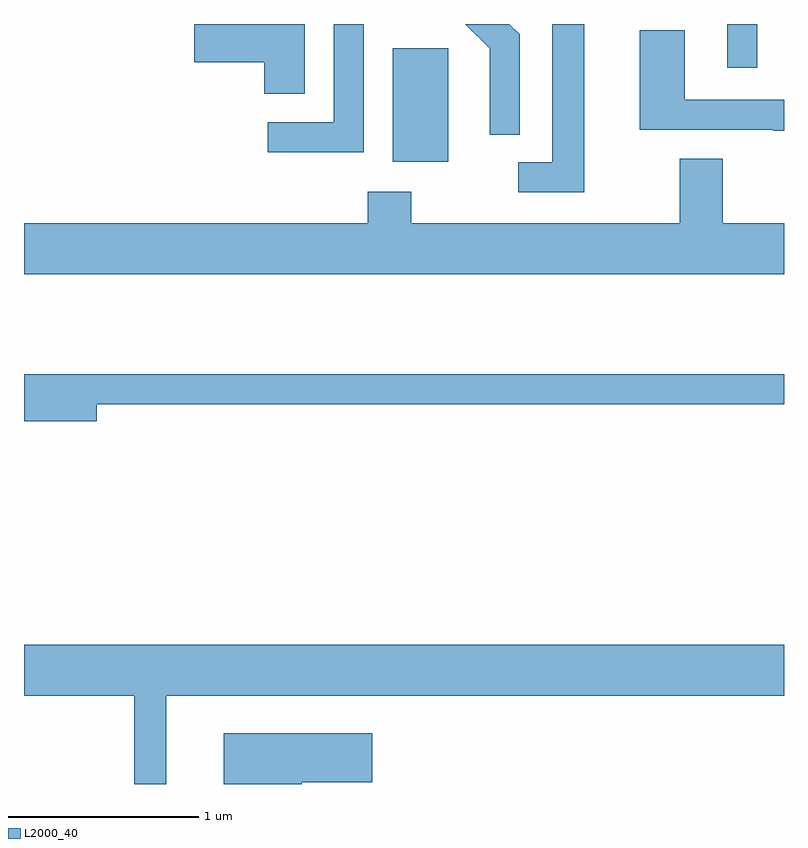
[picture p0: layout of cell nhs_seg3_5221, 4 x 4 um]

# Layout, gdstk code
import gdstk
lib = gdstk.Library(unit=1e-6, precision=1e-09)
def R(c, l, rs):  # rectangles x0, y0, x1, y1
    for r in rs: c.add(gdstk.rectangle(r[:2], r[2:], *l))
def P(c, l, *ps):  # polygons
    for p in ps: c.add(gdstk.Polygon(p, *l))
L2000_40 = (2000, 40)

nhs_seg3_5221 = lib.new_cell('nhs_seg3_5221')
R(nhs_seg3_5221, L2000_40, [(339.551,1233.166,339.844,1233.764), (341.311,1233.663,341.469,1233.892)])
P(nhs_seg3_5221, L2000_40, [(339.089,1233.892),(338.506,1233.892),(338.506,1233.691),(338.876,1233.691),(338.876,1233.526),(339.089,1233.526)],
  [(339.399,1233.892),(339.241,1233.892),(339.241,1233.374),(338.893,1233.374),(338.893,1233.216),(339.399,1233.216)],
  [(340.219,1233.837),(340.164,1233.892),(339.933,1233.892),(340.061,1233.764),(340.061,1233.308),(340.219,1233.308)],
  [(340.559,1233.892),(340.391,1233.892),(340.391,1233.164),(340.213,1233.164),(340.213,1233.006),(340.559,1233.006)],
  [(341.611,1233.494),(341.089,1233.494),(341.089,1233.859),(340.851,1233.859),(340.851,1233.336),(341.555,1233.336),(341.555,1233.331),(341.611,1233.331)],
  [(339.421,1233.009),(339.421,1232.844),(337.611,1232.844),(337.611,1232.576),(341.611,1232.576),(341.611,1232.844),(341.289,1232.844),(341.289,1233.184),(341.061,1233.184),(341.061,1232.844),(339.649,1232.844),(339.649,1233.009)],
  [(337.994,1231.891),(341.611,1231.891),(341.611,1232.049),(337.611,1232.049),(337.611,1231.801),(337.994,1231.801)],
  [(338.359,1230.356),(341.611,1230.356),(341.611,1230.624),(337.611,1230.624),(337.611,1230.356),(338.191,1230.356),(338.191,1229.892),(338.359,1229.892)],
  [(339.074,1229.901),(339.444,1229.901),(339.444,1230.159),(338.661,1230.159),(338.661,1229.892),(339.074,1229.892)])

lib.write_gds('nhs_seg3_5221.gds')
